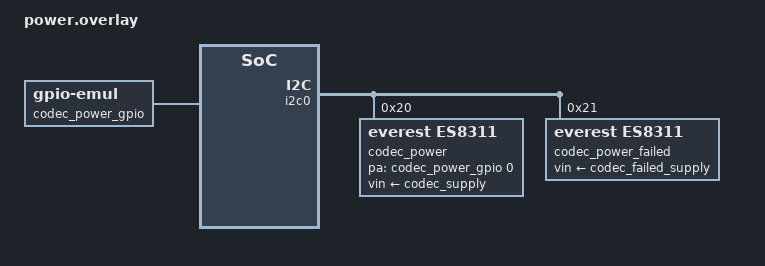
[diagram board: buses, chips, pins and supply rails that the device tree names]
/*
 * SPDX-FileCopyrightText: Copyright The Zephyr Project Contributors
 * SPDX-License-Identifier: Apache-2.0
 */

#include <zephyr/dt-bindings/gpio/gpio.h>

/ {
	codec_power_gpio: codec-power-gpio {
		compatible = "zephyr,gpio-emul";
		gpio-controller;
		#gpio-cells = <2>;
		ngpios = <1>;
	};

	codec-regulators {
		compatible = "zephyr,fake-regulator";

		codec_supply: codec-supply {
			regulator-name = "codec-test";
		};

		codec_failed_supply: failed-supply {
			regulator-name = "failed-codec-test";
		};
	};
};

&i2c0 {
	codec_power: es8311@20 {
		compatible = "everest,es8311";
		reg = <0x20>;
		vin-supply = <&codec_supply>;
		pa-gpios = <&codec_power_gpio 0 GPIO_ACTIVE_HIGH>;
	};

	codec_power_failed: es8311@21 {
		compatible = "everest,es8311";
		reg = <0x21>;
		vin-supply = <&codec_failed_supply>;
		zephyr,deferred-init;
	};
};
